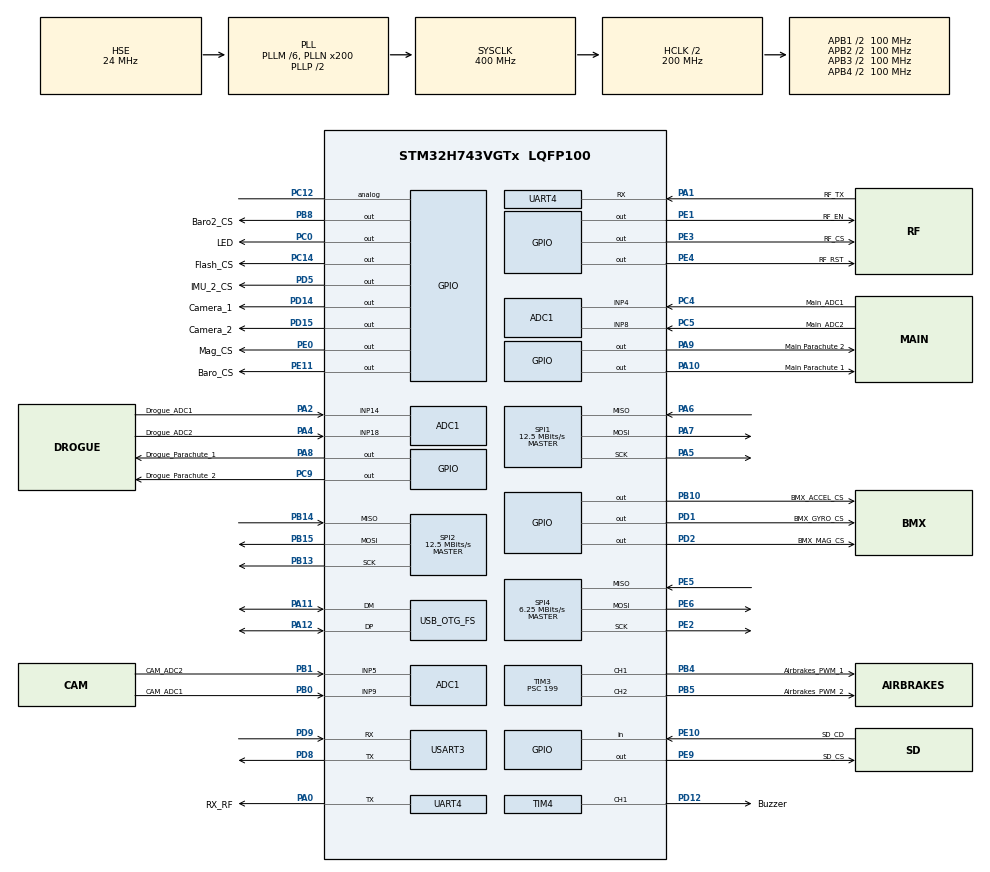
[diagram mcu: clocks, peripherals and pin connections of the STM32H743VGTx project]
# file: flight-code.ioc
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ADC1.Channel-0\#ChannelRegularConversion=ADC_CHANNEL_14
ADC1.NbrOfConversionFlag=1
ADC1.OffsetNumber-0\#ChannelRegularConversion=ADC_OFFSET_NONE
ADC1.OffsetSignedSaturation-0\#ChannelRegularConversion=DISABLE
ADC1.Overrun=ADC_OVR_DATA_OVERWRITTEN
ADC1.Rank-0\#ChannelRegularConversion=1
ADC1.SamplingTime-0\#ChannelRegularConversion=ADC_SAMPLETIME_1CYCLE_5
ADC1.master=1
CORTEX_M7.default_mode_Activation=1
FATFS._MAX_SS=4096
FATFS._USE_LFN=1
Mcu.Family=STM32H7
Mcu.Name=STM32H743VGTx
Mcu.Package=LQFP100
NVIC.PriorityGroup=NVIC_PRIORITYGROUP_4
PA0.GPIO_Label=RX_RF
PA0.Mode=Asynchronous
PA0.Signal=UART4_TX
PA1.GPIO_Label=RF_TX
PA1.Mode=Asynchronous
PA1.Signal=UART4_RX
PA10.GPIO_Label=Main Parachute 1
PA10.Signal=GPIO_Output
PA11.Mode=Device_Only
PA11.Signal=USB_OTG_FS_DM
PA12.Mode=Device_Only
PA12.Signal=USB_OTG_FS_DP
PA13\ (JTMS/SWDIO).Mode=Trace_Asynchronous_SW
PA13\ (JTMS/SWDIO).Signal=DEBUG_JTMS-SWDIO
PA14\ (JTCK/SWCLK).Mode=Trace_Asynchronous_SW
PA14\ (JTCK/SWCLK).Signal=DEBUG_JTCK-SWCLK
PA2.GPIO_Label=Drogue_ADC1
PA2.Signal=ADCx_INP14
PA4.GPIO_Label=Drogue_ADC2
PA4.Signal=ADCx_INP18
PA5.Mode=Full_Duplex_Master
PA5.Signal=SPI1_SCK
PA6.Mode=Full_Duplex_Master
PA6.Signal=SPI1_MISO
PA7.Mode=Full_Duplex_Master
PA7.Signal=SPI1_MOSI
PA8.GPIO_Label=Drogue_Parachute_1
PA8.Signal=GPIO_Output
PA9.GPIO_Label=Main Parachute 2
PA9.Signal=GPIO_Output
PB0.GPIO_Label=CAM_ADC1
PB0.Signal=ADCx_INP9
PB1.GPIO_Label=CAM_ADC2
PB1.Signal=ADCx_INP5
PB10.GPIO_Label=BMX_ACCEL_CS
PB10.Signal=GPIO_Output
PB13.Mode=Full_Duplex_Master
PB13.Signal=SPI2_SCK
PB14.Mode=Full_Duplex_Master
PB14.Signal=SPI2_MISO
PB15.Mode=Full_Duplex_Master
PB15.Signal=SPI2_MOSI
PB3\ (JTDO/TRACESWO).Mode=Trace_Asynchronous_SW
PB3\ (JTDO/TRACESWO).Signal=DEBUG_JTDO-SWO
PB4\ (NJTRST).GPIO_Label=Airbrakes_PWM_1
PB4\ (NJTRST).Signal=S_TIM3_CH1
PB5.GPIO_Label=Airbrakes_PWM_2
PB5.Signal=S_TIM3_CH2
PB8.GPIO_Label=Baro2_CS
PB8.Signal=GPIO_Output
PC0.GPIO_Label=LED
PC0.Signal=GPIO_Output
PC12.Signal=GPIO_Analog
PC14-OSC32_IN\ (OSC32_IN).GPIO_Label=Flash_CS
PC14-OSC32_IN\ (OSC32_IN).Signal=GPIO_Output
PC4.GPIO_Label=Main_ADC1
PC4.Signal=ADCx_INP4
PC5.GPIO_Label=Main_ADC2
PC5.Signal=ADCx_INP8
PC9.GPIO_Label=Drogue_Parachute_2
PC9.Signal=GPIO_Output
PD1.GPIO_Label=BMX_GYRO_CS
PD1.Signal=GPIO_Output
PD12.GPIO_Label=Buzzer
PD12.Signal=S_TIM4_CH1
PD14.GPIO_Label=Camera_1
PD14.Signal=GPIO_Output
PD15.GPIO_Label=Camera_2
PD15.Signal=GPIO_Output
PD2.GPIO_Label=BMX_MAG_CS
PD2.Signal=GPIO_Output
PD5.GPIO_Label=IMU_2_CS
PD5.Signal=GPIO_Output
PD8.Mode=Asynchronous
PD8.Signal=USART3_TX
PD9.Mode=Asynchronous
PD9.Signal=USART3_RX
PE0.GPIO_Label=Mag_CS
PE0.Signal=GPIO_Output
PE1.GPIO_Label=RF_EN
PE1.Signal=GPIO_Output
PE10.GPIO_Label=SD_CD
PE10.Signal=GPIO_Input
PE11.GPIO_Label=Baro_CS
PE11.Signal=GPIO_Output
PE2.Mode=Full_Duplex_Master
PE2.Signal=SPI4_SCK
PE3.GPIO_Label=RF_CS
PE3.Signal=GPIO_Output
PE4.GPIO_Label=RF_RST
PE4.Signal=GPIO_Output
PE5.Mode=Full_Duplex_Master
PE5.Signal=SPI4_MISO
PE6.Mode=Full_Duplex_Master
PE6.Signal=SPI4_MOSI
PE9.GPIO_Label=SD_CS
PE9.Signal=GPIO_Output
PH0-OSC_IN\ (PH0).Mode=HSE-External-Oscillator
PH0-OSC_IN\ (PH0).Signal=RCC_OSC_IN
PH1-OSC_OUT\ (PH1).Mode=HSE-External-Oscillator
PH1-OSC_OUT\ (PH1).Signal=RCC_OSC_OUT
ProjectManager.HeapSize=0x200
ProjectManager.StackSize=0x400
ProjectManager.TargetToolchain=STM32CubeIDE
RCC.ADCFreq_Value=100000000
RCC.APB1Freq_Value=100000000
RCC.APB2Freq_Value=100000000
RCC.APB3Freq_Value=100000000
RCC.APB4Freq_Value=100000000
RCC.CortexFreq_Value=400000000
RCC.D1PPRE=RCC_APB3_DIV2
RCC.D2PPRE1=RCC_APB1_DIV2
RCC.D2PPRE2=RCC_APB2_DIV2
RCC.D3PPRE=RCC_APB4_DIV2
RCC.DIVM1=6
RCC.DIVM2=6
RCC.DIVM3=6
RCC.DIVN1=200
RCC.DIVN2=100
RCC.DIVN3=96
RCC.DIVP2=4
RCC.DIVP3=10
RCC.DIVQ1=4
RCC.DIVQ3=8
RCC.DIVR3=10
RCC.EnbaleCSS=true
RCC.HCLKFreq_Value=200000000
RCC.HPRE=RCC_HCLK_DIV2
RCC.HSE_VALUE=24000000
RCC.PLL1_VCI_Range-AdvancedSettings=RCC_PLL1VCIRANGE_0
RCC.PLL2FRACN=0
RCC.PLL3FRACN=0
RCC.PLLFRACN=0
RCC.PLLSourceVirtual=RCC_PLLSOURCE_HSE
RCC.SYSCLKFreq_VALUE=400000000
RCC.SYSCLKSource=RCC_SYSCLKSOURCE_PLLCLK
RCC.USBCLockSelection=RCC_USBCLKSOURCE_PLL3
RCC.USBFreq_Value=48000000
SH.ADCx_INP14.0=ADC1_INP14,IN14-Single-Ended
SH.ADCx_INP18.0=ADC1_INP18,IN18-Single-Ended
SH.ADCx_INP4.0=ADC1_INP4,IN4-Single-Ended
SH.ADCx_INP5.0=ADC1_INP5,IN5-Single-Ended
SH.ADCx_INP8.0=ADC1_INP8,IN8-Single-Ended
SH.ADCx_INP9.0=ADC1_INP9,IN9-Single-Ended
SH.S_TIM3_CH1.0=TIM3_CH1,PWM Generation1 CH1
SH.S_TIM3_CH2.0=TIM3_CH2,PWM Generation2 CH2
SH.S_TIM4_CH1.0=TIM4_CH1,PWM Generation1 CH1
SPI1.BaudRatePrescaler=SPI_BAUDRATEPRESCALER_16
SPI1.CLKPhase=SPI_PHASE_1EDGE
SPI1.CLKPolarity=SPI_POLARITY_LOW
SPI1.CalculateBaudRate=12.5 MBits/s
SPI1.DataSize=SPI_DATASIZE_8BIT
SPI1.Direction=SPI_DIRECTION_2LINES
SPI1.Mode=SPI_MODE_MASTER
SPI1.VirtualType=VM_MASTER
SPI2.BaudRatePrescaler=SPI_BAUDRATEPRESCALER_16
SPI2.CLKPhase=SPI_PHASE_1EDGE
SPI2.CLKPolarity=SPI_POLARITY_LOW
SPI2.CalculateBaudRate=12.5 MBits/s
SPI2.DataSize=SPI_DATASIZE_8BIT
SPI2.Direction=SPI_DIRECTION_2LINES
SPI2.Mode=SPI_MODE_MASTER
SPI2.VirtualType=VM_MASTER
SPI4.BaudRatePrescaler=SPI_BAUDRATEPRESCALER_16
SPI4.CalculateBaudRate=6.25 MBits/s
SPI4.DataSize=SPI_DATASIZE_8BIT
SPI4.Direction=SPI_DIRECTION_2LINES
SPI4.Mode=SPI_MODE_MASTER
SPI4.VirtualType=VM_MASTER
TIM3.AutoReloadPreload=TIM_AUTORELOAD_PRELOAD_ENABLE
TIM3.Channel-PWM\ Generation1\ CH1=TIM_CHANNEL_1
TIM3.Channel-PWM\ Generation2\ CH2=TIM_CHANNEL_2
TIM3.Period=20000 - 1
TIM3.Prescaler=199
TIM4.Channel-PWM\ Generation1\ CH1=TIM_CHANNEL_1
UART4.BaudRate=57600
USART3.VirtualMode-Asynchronous=VM_ASYNC
USB_OTG_FS.VirtualMode=Device_Only
VP_FATFS_VS_Generic.Mode=User_defined
VP_MEMORYMAP_VS_MEMORYMAP.Mode=CurAppReg
VP_TIM3_VS_ClockSourceINT.Mode=Internal
VP_TIM4_VS_ClockSourceINT.Mode=Internal
board=custom

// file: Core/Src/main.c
/* USER CODE BEGIN Header */
/**
  ******************************************************************************
  * @file           : main.c
  * @brief          : Main program body
  ******************************************************************************
  * @attention
  *
  * Copyright (c) 2026 STMicroelectronics.
  * All rights reserved.
  *
  * This software is licensed under terms that can be found in the LICENSE file
  * in the root directory of this software component.
  * If no LICENSE file comes with this software, it is provided AS-IS.
  *
  ******************************************************************************
  */
/* USER CODE END Header */
#include "main.h"
#include "fatfs.h"

/* USER CODE BEGIN Includes */

#include "sensors.h"
#include "telemetry.h"
#include "fsm.h"
#include "madgwick.h"
#include "complementary_filter.h"
#include "cameras.h"
#include "buzzer.h"
#include "airbrakes.h"
#include "rfm9x.h"
#include "commands.h"
#include "parachutes.h"
#include "launch_buffer.h"
#include <string.h>
#include <math.h>

/* USER CODE END Includes */

ADC_HandleTypeDef hadc1;

SPI_HandleTypeDef hspi1;
SPI_HandleTypeDef hspi2;
SPI_HandleTypeDef hspi4;

TIM_HandleTypeDef htim3;
TIM_HandleTypeDef htim4;

UART_HandleTypeDef huart4;
UART_HandleTypeDef huart3;

PCD_HandleTypeDef hpcd_USB_OTG_FS;

/* USER CODE BEGIN PV */

// Bias structure
Bias_t bias = {0};

// Telemetry structure
Telemetry_t telemetry = {0};
// Flight State
FlightState_t flight_state = LAUNCH_PAD;

//Launch buffer
launch_buffer_t launch_buffer;

// RF
uint32_t prev_rf_transmit_time = 0;
uint32_t prev_log_time = 0;
uint32_t prev_flush_time = 0;
uint8_t rxbuf[32];
uint8_t len;
//HAL_GetTick()
/* USER CODE END PV */

void SystemClock_Config(void);
static void MPU_Config(void);
static void MX_GPIO_Init(void);
static void MX_SPI1_Init(void);
static void MX_UART4_Init(void);
static void MX_USB_OTG_FS_PCD_Init(void);
static void MX_USART3_UART_Init(void);
static void MX_ADC1_Init(void);
static void MX_TIM3_Init(void);
static void MX_TIM4_Init(void);
static void MX_SPI2_Init(void);
static void MX_SPI4_Init(void);
/* USER CODE BEGIN PFP */
void Success_pattern(void);
void Error_pattern(void);

/* USER CODE END PFP */

/* USER CODE BEGIN 0 */

// Microsecond resolution time
void DWT_Init(void)
{
    CoreDebug->DEMCR |= CoreDebug_DEMCR_TRCENA_Msk; // Enable DWT
    DWT->CYCCNT = 0;
    DWT->CTRL |= DWT_CTRL_CYCCNTENA_Msk;            // Start counter
}

uint64_t micros(void)
{
	static uint32_t last = 0;
	static uint64_t high = 0;

	uint32_t now = DWT->CYCCNT;

	if (now < last) {
		high += (1ULL << 32);
	}

	last = now;

	uint64_t cycles = high | now;

	return cycles / (SystemCoreClock / 1000000);
}

// Success: 3 quick LED blinks + 2 distinct buzzer tones
void Success_Pattern(void)
{
    // 3 quick LED blinks
	for(int i = 0; i < 3; i++) {
	        HAL_GPIO_WritePin(LED_GPIO_Port, LED_Pin, GPIO_PIN_SET);
	        HAL_Delay(150);  // Slightly longer ON
	        HAL_GPIO_WritePin(LED_GPIO_Port, LED_Pin, GPIO_PIN_RESET);
	        HAL_Delay(150);
	    }

    HAL_Delay(1000); //  pause

    // 2 distinct quick beeps
    for(int i = 0; i < 2; i++) {
    	__HAL_TIM_SET_COMPARE(&htim4, TIM_CHANNEL_1, htim4.Init.Period / 2);
		HAL_Delay(150);
		__HAL_TIM_SET_COMPARE(&htim4, TIM_CHANNEL_1, 0);
        HAL_Delay(150);
    }

    // Turn buzzer ON and keep it on
    __HAL_TIM_SET_COMPARE(&htim4, TIM_CHANNEL_1, htim4.Init.Period / 2);
}

// Error: Rapid LED flashing + continuous buzzer beeps, system halts
void Error_Pattern(void)
{
    while(1) {
        // Rapid LED flashing (50ms on/off)
        HAL_GPIO_WritePin(LED_GPIO_Port, LED_Pin, GPIO_PIN_SET);
        HAL_Delay(50);
        HAL_GPIO_WritePin(LED_GPIO_Port, LED_Pin, GPIO_PIN_RESET);
        HAL_Delay(50);

        // Continuous beeping via PWM: 200ms tone, 200ms silence
        // Tone ON
        __HAL_TIM_SET_COMPARE(&htim4, TIM_CHANNEL_1, htim4.Init.Period / 2); // 50% duty
        HAL_Delay(200);

        // Tone OFF (duty = 0)
        __HAL_TIM_SET_COMPARE(&htim4, TIM_CHANNEL_1, 0);
        HAL_Delay(200);
    }
    // System halts here - never returns
}

uint8_t set_airbrakes_target_apogee = 0;
uint32_t gliding_ascent_start_time = 0;

uint32_t main_start_time = 0;

/* USER CODE END 0 */

int main(void)
{

  /* MPU Configuration--------------------------------------------------------*/
  MPU_Config();

  /* MCU Configuration--------------------------------------------------------*/

  /* Reset of all peripherals, Initializes the Flash interface and the Systick. */
  HAL_Init();

  /* Configure the system clock */
  SystemClock_Config();

  /* Initialize all configured peripherals */
  MX_GPIO_Init();
  MX_SPI1_Init();
  MX_UART4_Init();
  MX_USB_OTG_FS_PCD_Init();
  MX_USART3_UART_Init();
  MX_FATFS_Init();
  MX_ADC1_Init();
  MX_TIM3_Init();
  MX_TIM4_Init();
  MX_SPI2_Init();
  MX_SPI4_Init();
  /* USER CODE BEGIN 2 */

  	// Initialize counter for micros() function
  	DWT_Init();

  	// Initialize ADC
  	HAL_ADCEx_Calibration_Start(&hadc1, ADC_CALIB_OFFSET, ADC_SINGLE_ENDED);

  	deselect_all_spi();

  	// Init rf
  	RFM9X_Init(&hspi1, RF_CS_GPIO_Port, RF_CS_Pin, RF_RST_GPIO_Port, RF_RST_Pin, RF_EN_GPIO_Port, RF_EN_Pin);

	// Initialize all sensors
    HAL_Delay(100);
	init_sensors(&hspi2, &hspi4);
	HAL_Delay(100);

	// Verify all sensors work todo
	if (Verify_Sensors() == 0){
		Success_Pattern();
	} else {
		Error_Pattern();
	}
	HAL_Delay(500);

	// Turn buzzer ON for normal operation
	buzzer_set_frequency(4000);

	// Turn Cameras on
	turn_camera_on(0);
	turn_camera_on(1);

	// Init airbrakes servos
	init_airbrakes_servo();

	strcpy(telemetry.cmd_echo, "N/A");

	// Get Inital state string
	init_data_file(&hspi1);
//	launch_buffer_init(&launch_buffer);

	// Read sensors a bunch to ensure correct initial values
	for(int i = 0; i < 20; ++i){
		read_sensors(&telemetry);
		HAL_Delay(10);
	}

	// Initialize flight state machine (need to read sensors first)
	init_flight_state(&flight_state, &telemetry);

	// Init madgwick filter (need to read accel first)
	Madgwick_Init(&telemetry, 0.1f); // TODO: Test different b's

	// Set the initial temperature for airbrakes algorithm. Used for drag force.
	set_airbrakes_initial_temp(&telemetry); // TODO: Go over this again

	// ROCKET MUST BE STILL
	Bias_Init(&bias);

//	Gyro_CalibrateBias(&bias, &telemetry, 500);

  /* USER CODE END 2 */

  /* Infinite loop */
  /* USER CODE BEGIN WHILE */

	while (1)
	{
		// Get the start time
		main_start_time = HAL_GetTick();

////		 Read Sensors
		read_sensors(&telemetry);
		read_ematch_connections(&telemetry);
		read_camera_adcs(&telemetry);

		// Filter
		Madgwick_Update(&telemetry);
		Madgwick_GetEuler(&telemetry);
		complementary_filter(&telemetry, &flight_state);

		// Update flight state
		update_flight_state(&flight_state, &telemetry);

		//add to launch_buffer
//		launch_buffer_add(&launch_buffer, flight_state, &telemetry);

		// Control Airbrakes
		set_optimal_deployment(flight_state, &telemetry);

		// Handle Commands
		RFM9X_Poll();
		len = RFM9X_Receive(rxbuf, sizeof(rxbuf));
		if(len > 0)
		{
			handle_rf_command((char *)rxbuf, &flight_state, &telemetry);
		}

		// Send RF data
		uint32_t cur_time = HAL_GetTick();
		if (cur_time - prev_rf_transmit_time >= RF_TRANSMIT_PERIOD && !RFM9X_IsTxBusy()){
			prev_rf_transmit_time = cur_time;
			char msg[300];
			get_rf_msg(flight_state, &telemetry, msg, sizeof(msg));
			RFM9X_Send((uint8_t *)msg, strlen(msg));
		}

		// Log telemetry
		if (cur_time - prev_log_time >= telemetry_log_period(flight_state)){
			prev_log_time = cur_time;
			log_data(flight_state, &telemetry); // Possible change: decrease how often we save the data file
		}

		// Flush data file
		if (cur_time - prev_flush_time >= 500) {
			prev_flush_time = cur_time;
			save_data_file();
		}

		// Wait until amt of time
		while (HAL_GetTick() - main_start_time < 5);

//		perform_airbrakes_servo_sequence();
//		HAL_Delay(5000);

//		HAL_Delay(1);

//		set_airbrakes_deployment_level(&telemetry, 0);

    /* USER CODE END WHILE */

	}
}

void SystemClock_Config(void)
{
  RCC_OscInitTypeDef RCC_OscInitStruct = {0};
  RCC_ClkInitTypeDef RCC_ClkInitStruct = {0};

  /** Supply configuration update enable
  */
  HAL_PWREx_ConfigSupply(PWR_LDO_SUPPLY);

  /** Configure the main internal regulator output voltage
  */
  __HAL_PWR_VOLTAGESCALING_CONFIG(PWR_REGULATOR_VOLTAGE_SCALE1);

  while(!__HAL_PWR_GET_FLAG(PWR_FLAG_VOSRDY)) {}

  /** Initializes the RCC Oscillators according to the specified parameters
  * in the RCC_OscInitTypeDef structure.
  */
  RCC_OscInitStruct.OscillatorType = RCC_OSCILLATORTYPE_HSE;
  RCC_OscInitStruct.HSEState = RCC_HSE_ON;
  RCC_OscInitStruct.PLL.PLLState = RCC_PLL_ON;
  RCC_OscInitStruct.PLL.PLLSource = RCC_PLLSOURCE_HSE;
  RCC_OscInitStruct.PLL.PLLM = 6;
  RCC_OscInitStruct.PLL.PLLN = 200;
  RCC_OscInitStruct.PLL.PLLP = 2;
  RCC_OscInitStruct.PLL.PLLQ = 4;
  RCC_OscInitStruct.PLL.PLLR = 2;
  RCC_OscInitStruct.PLL.PLLRGE = RCC_PLL1VCIRANGE_2;
  RCC_OscInitStruct.PLL.PLLVCOSEL = RCC_PLL1VCOWIDE;
  RCC_OscInitStruct.PLL.PLLFRACN = 0;
  if (HAL_RCC_OscConfig(&RCC_OscInitStruct) != HAL_OK)
  {
    Error_Handler();
  }

  /** Initializes the CPU, AHB and APB buses clocks
  */
  RCC_ClkInitStruct.ClockType = RCC_CLOCKTYPE_HCLK|RCC_CLOCKTYPE_SYSCLK
                              |RCC_CLOCKTYPE_PCLK1|RCC_CLOCKTYPE_PCLK2
                              |RCC_CLOCKTYPE_D3PCLK1|RCC_CLOCKTYPE_D1PCLK1;
  RCC_ClkInitStruct.SYSCLKSource = RCC_SYSCLKSOURCE_PLLCLK;
  RCC_ClkInitStruct.SYSCLKDivider = RCC_SYSCLK_DIV1;
  RCC_ClkInitStruct.AHBCLKDivider = RCC_HCLK_DIV2;
  RCC_ClkInitStruct.APB3CLKDivider = RCC_APB3_DIV2;
  RCC_ClkInitStruct.APB1CLKDivider = RCC_APB1_DIV2;
  RCC_ClkInitStruct.APB2CLKDivider = RCC_APB2_DIV2;
  RCC_ClkInitStruct.APB4CLKDivider = RCC_APB4_DIV2;

  if (HAL_RCC_ClockConfig(&RCC_ClkInitStruct, FLASH_LATENCY_2) != HAL_OK)
  {
    Error_Handler();
  }

  /** Enables the Clock Security System
  */
  HAL_RCC_EnableCSS();
}

static void MX_ADC1_Init(void)
{

  ADC_MultiModeTypeDef multimode = {0};
  ADC_ChannelConfTypeDef sConfig = {0};

  /** Common config
  */
  hadc1.Instance = ADC1;
  hadc1.Init.ClockPrescaler = ADC_CLOCK_ASYNC_DIV1;
  hadc1.Init.Resolution = ADC_RESOLUTION_16B;
  hadc1.Init.ScanConvMode = ADC_SCAN_DISABLE;
  hadc1.Init.EOCSelection = ADC_EOC_SINGLE_CONV;
  hadc1.Init.LowPowerAutoWait = DISABLE;
  hadc1.Init.ContinuousConvMode = DISABLE;
  hadc1.Init.NbrOfConversion = 1;
  hadc1.Init.DiscontinuousConvMode = DISABLE;
  hadc1.Init.ExternalTrigConv = ADC_SOFTWARE_START;
  hadc1.Init.ExternalTrigConvEdge = ADC_EXTERNALTRIGCONVEDGE_NONE;
  hadc1.Init.ConversionDataManagement = ADC_CONVERSIONDATA_DR;
  hadc1.Init.Overrun = ADC_OVR_DATA_OVERWRITTEN;
  hadc1.Init.LeftBitShift = ADC_LEFTBITSHIFT_NONE;
  hadc1.Init.OversamplingMode = DISABLE;
  hadc1.Init.Oversampling.Ratio = 1;
  if (HAL_ADC_Init(&hadc1) != HAL_OK)
  {
    Error_Handler();
  }

  /** Configure the ADC multi-mode
  */
  multimode.Mode = ADC_MODE_INDEPENDENT;
  if (HAL_ADCEx_MultiModeConfigChannel(&hadc1, &multimode) != HAL_OK)
  {
    Error_Handler();
  }

  /** Configure Regular Channel
  */
  sConfig.Channel = ADC_CHANNEL_14;
  sConfig.Rank = ADC_REGULAR_RANK_1;
  sConfig.SamplingTime = ADC_SAMPLETIME_1CYCLE_5;
  sConfig.SingleDiff = ADC_SINGLE_ENDED;
  sConfig.OffsetNumber = ADC_OFFSET_NONE;
  sConfig.Offset = 0;
  sConfig.OffsetSignedSaturation = DISABLE;
  if (HAL_ADC_ConfigChannel(&hadc1, &sConfig) != HAL_OK)
  {
    Error_Handler();
  }

}

static void MX_SPI1_Init(void)
{

  /* SPI1 parameter configuration*/
  hspi1.Instance = SPI1;
  hspi1.Init.Mode = SPI_MODE_MASTER;
  hspi1.Init.Direction = SPI_DIRECTION_2LINES;
  hspi1.Init.DataSize = SPI_DATASIZE_8BIT;
  hspi1.Init.CLKPolarity = SPI_POLARITY_LOW;
  hspi1.Init.CLKPhase = SPI_PHASE_1EDGE;
  hspi1.Init.NSS = SPI_NSS_SOFT;
  hspi1.Init.BaudRatePrescaler = SPI_BAUDRATEPRESCALER_16;
  hspi1.Init.FirstBit = SPI_FIRSTBIT_MSB;
  hspi1.Init.TIMode = SPI_TIMODE_DISABLE;
  hspi1.Init.CRCCalculation = SPI_CRCCALCULATION_DISABLE;
  hspi1.Init.CRCPolynomial = 0x0;
  hspi1.Init.NSSPMode = SPI_NSS_PULSE_ENABLE;
  hspi1.Init.NSSPolarity = SPI_NSS_POLARITY_LOW;
  hspi1.Init.FifoThreshold = SPI_FIFO_THRESHOLD_01DATA;
  hspi1.Init.TxCRCInitializationPattern = SPI_CRC_INITIALIZATION_ALL_ZERO_PATTERN;
  hspi1.Init.RxCRCInitializationPattern = SPI_CRC_INITIALIZATION_ALL_ZERO_PATTERN;
  hspi1.Init.MasterSSIdleness = SPI_MASTER_SS_IDLENESS_00CYCLE;
  hspi1.Init.MasterInterDataIdleness = SPI_MASTER_INTERDATA_IDLENESS_00CYCLE;
  hspi1.Init.MasterReceiverAutoSusp = SPI_MASTER_RX_AUTOSUSP_DISABLE;
  hspi1.Init.MasterKeepIOState = SPI_MASTER_KEEP_IO_STATE_DISABLE;
  hspi1.Init.IOSwap = SPI_IO_SWAP_DISABLE;
  if (HAL_SPI_Init(&hspi1) != HAL_OK)
  {
    Error_Handler();
  }

}

static void MX_SPI2_Init(void)
{

  /* SPI2 parameter configuration*/
  hspi2.Instance = SPI2;
  hspi2.Init.Mode = SPI_MODE_MASTER;
  hspi2.Init.Direction = SPI_DIRECTION_2LINES;
  hspi2.Init.DataSize = SPI_DATASIZE_8BIT;
  hspi2.Init.CLKPolarity = SPI_POLARITY_LOW;
  hspi2.Init.CLKPhase = SPI_PHASE_1EDGE;
  hspi2.Init.NSS = SPI_NSS_SOFT;
  hspi2.Init.BaudRatePrescaler = SPI_BAUDRATEPRESCALER_16;
  hspi2.Init.FirstBit = SPI_FIRSTBIT_MSB;
  hspi2.Init.TIMode = SPI_TIMODE_DISABLE;
  hspi2.Init.CRCCalculation = SPI_CRCCALCULATION_DISABLE;
  hspi2.Init.CRCPolynomial = 0x0;
  hspi2.Init.NSSPMode = SPI_NSS_PULSE_ENABLE;
  hspi2.Init.NSSPolarity = SPI_NSS_POLARITY_LOW;
  hspi2.Init.FifoThreshold = SPI_FIFO_THRESHOLD_01DATA;
  hspi2.Init.TxCRCInitializationPattern = SPI_CRC_INITIALIZATION_ALL_ZERO_PATTERN;
  hspi2.Init.RxCRCInitializationPattern = SPI_CRC_INITIALIZATION_ALL_ZERO_PATTERN;
  hspi2.Init.MasterSSIdleness = SPI_MASTER_SS_IDLENESS_00CYCLE;
  hspi2.Init.MasterInterDataIdleness = SPI_MASTER_INTERDATA_IDLENESS_00CYCLE;
  hspi2.Init.MasterReceiverAutoSusp = SPI_MASTER_RX_AUTOSUSP_DISABLE;
  hspi2.Init.MasterKeepIOState = SPI_MASTER_KEEP_IO_STATE_DISABLE;
  hspi2.Init.IOSwap = SPI_IO_SWAP_DISABLE;
  if (HAL_SPI_Init(&hspi2) != HAL_OK)
  {
    Error_Handler();
  }

}

static void MX_SPI4_Init(void)
{

  /* SPI4 parameter configuration*/
  hspi4.Instance = SPI4;
  hspi4.Init.Mode = SPI_MODE_MASTER;
  hspi4.Init.Direction = SPI_DIRECTION_2LINES;
  hspi4.Init.DataSize = SPI_DATASIZE_8BIT;
  hspi4.Init.CLKPolarity = SPI_POLARITY_LOW;
  hspi4.Init.CLKPhase = SPI_PHASE_1EDGE;
  hspi4.Init.NSS = SPI_NSS_SOFT;
  hspi4.Init.BaudRatePrescaler = SPI_BAUDRATEPRESCALER_16;
  hspi4.Init.FirstBit = SPI_FIRSTBIT_MSB;
  hspi4.Init.TIMode = SPI_TIMODE_DISABLE;
  hspi4.Init.CRCCalculation = SPI_CRCCALCULATION_DISABLE;
  hspi4.Init.CRCPolynomial = 0x0;
  hspi4.Init.NSSPMode = SPI_NSS_PULSE_ENABLE;
  hspi4.Init.NSSPolarity = SPI_NSS_POLARITY_LOW;
  hspi4.Init.FifoThreshold = SPI_FIFO_THRESHOLD_01DATA;
  hspi4.Init.TxCRCInitializationPattern = SPI_CRC_INITIALIZATION_ALL_ZERO_PATTERN;
  hspi4.Init.RxCRCInitializationPattern = SPI_CRC_INITIALIZATION_ALL_ZERO_PATTERN;
  hspi4.Init.MasterSSIdleness = SPI_MASTER_SS_IDLENESS_00CYCLE;
  hspi4.Init.MasterInterDataIdleness = SPI_MASTER_INTERDATA_IDLENESS_00CYCLE;
  hspi4.Init.MasterReceiverAutoSusp = SPI_MASTER_RX_AUTOSUSP_DISABLE;
  hspi4.Init.MasterKeepIOState = SPI_MASTER_KEEP_IO_STATE_DISABLE;
  hspi4.Init.IOSwap = SPI_IO_SWAP_DISABLE;
  if (HAL_SPI_Init(&hspi4) != HAL_OK)
  {
    Error_Handler();
  }

}

static void MX_TIM3_Init(void)
{

  TIM_ClockConfigTypeDef sClockSourceConfig = {0};
  TIM_MasterConfigTypeDef sMasterConfig = {0};
  TIM_OC_InitTypeDef sConfigOC = {0};

  htim3.Instance = TIM3;
  htim3.Init.Prescaler = 199;
  htim3.Init.CounterMode = TIM_COUNTERMODE_UP;
  htim3.Init.Period = 20000 - 1;
  htim3.Init.ClockDivision = TIM_CLOCKDIVISION_DIV1;
  htim3.Init.AutoReloadPreload = TIM_AUTORELOAD_PRELOAD_ENABLE;
  if (HAL_TIM_Base_Init(&htim3) != HAL_OK)
  {
    Error_Handler();
  }
  sClockSourceConfig.ClockSource = TIM_CLOCKSOURCE_INTERNAL;
  if (HAL_TIM_ConfigClockSource(&htim3, &sClockSourceConfig) != HAL_OK)
  {
    Error_Handler();
  }
  if (HAL_TIM_PWM_Init(&htim3) != HAL_OK)
  {
    Error_Handler();
  }
  sMasterConfig.MasterOutputTrigger = TIM_TRGO_RESET;
  sMasterConfig.MasterSlaveMode = TIM_MASTERSLAVEMODE_DISABLE;
  if (HAL_TIMEx_MasterConfigSynchronization(&htim3, &sMasterConfig) != HAL_OK)
  {
    Error_Handler();
  }
  sConfigOC.OCMode = TIM_OCMODE_PWM1;
  sConfigOC.Pulse = 0;
  sConfigOC.OCPolarity = TIM_OCPOLARITY_HIGH;
  sConfigOC.OCFastMode = TIM_OCFAST_DISABLE;
  if (HAL_TIM_PWM_ConfigChannel(&htim3, &sConfigOC, TIM_CHANNEL_1) != HAL_OK)
  {
    Error_Handler();
  }
  if (HAL_TIM_PWM_ConfigChannel(&htim3, &sConfigOC, TIM_CHANNEL_2) != HAL_OK)
  {
    Error_Handler();
  }
  HAL_TIM_MspPostInit(&htim3);

}

static void MX_TIM4_Init(void)
{

  TIM_ClockConfigTypeDef sClockSourceConfig = {0};
  TIM_MasterConfigTypeDef sMasterConfig = {0};
  TIM_OC_InitTypeDef sConfigOC = {0};

  htim4.Instance = TIM4;
  htim4.Init.Prescaler = 0;
  htim4.Init.CounterMode = TIM_COUNTERMODE_UP;
  htim4.Init.Period = 65535;
  htim4.Init.ClockDivision = TIM_CLOCKDIVISION_DIV1;
  htim4.Init.AutoReloadPreload = TIM_AUTORELOAD_PRELOAD_DISABLE;
  if (HAL_TIM_Base_Init(&htim4) != HAL_OK)
  {
    Error_Handler();
  }
  sClockSourceConfig.ClockSource = TIM_CLOCKSOURCE_INTERNAL;
  if (HAL_TIM_ConfigClockSource(&htim4, &sClockSourceConfig) != HAL_OK)
  {
    Error_Handler();
  }
  if (HAL_TIM_PWM_Init(&htim4) != HAL_OK)
  {
    Error_Handler();
  }
  sMasterConfig.MasterOutputTrigger = TIM_TRGO_RESET;
  sMasterConfig.MasterSlaveMode = TIM_MASTERSLAVEMODE_DISABLE;
  if (HAL_TIMEx_MasterConfigSynchronization(&htim4, &sMasterConfig) != HAL_OK)
  {
    Error_Handler();
  }
  sConfigOC.OCMode = TIM_OCMODE_PWM1;
  sConfigOC.Pulse = 0;
  sConfigOC.OCPolarity = TIM_OCPOLARITY_HIGH;
  sConfigOC.OCFastMode = TIM_OCFAST_DISABLE;
  if (HAL_TIM_PWM_ConfigChannel(&htim4, &sConfigOC, TIM_CHANNEL_1) != HAL_OK)
  {
    Error_Handler();
  }
  HAL_TIM_MspPostInit(&htim4);

}

static void MX_UART4_Init(void)
{

  huart4.Instance = UART4;
  huart4.Init.BaudRate = 57600;
  huart4.Init.WordLength = UART_WORDLENGTH_8B;
  huart4.Init.StopBits = UART_STOPBITS_1;
  huart4.Init.Parity = UART_PARITY_NONE;
  huart4.Init.Mode = UART_MODE_TX_RX;
  huart4.Init.HwFlowCtl = UART_HWCONTROL_NONE;
  huart4.Init.OverSampling = UART_OVERSAMPLING_16;
  huart4.Init.OneBitSampling = UART_ONE_BIT_SAMPLE_DISABLE;
  huart4.Init.ClockPrescaler = UART_PRESCALER_DIV1;
  huart4.AdvancedInit.AdvFeatureInit = UART_ADVFEATURE_NO_INIT;
  if (HAL_UART_Init(&huart4) != HAL_OK)
  {
    Error_Handler();
  }
  if (HAL_UARTEx_SetTxFifoThreshold(&huart4, UART_TXFIFO_THRESHOLD_1_8) != HAL_OK)
  {
    Error_Handler();
  }
  if (HAL_UARTEx_SetRxFifoThreshold(&huart4, UART_RXFIFO_THRESHOLD_1_8) != HAL_OK)
  {
    Error_Handler();
  }
  if (HAL_UARTEx_DisableFifoMode(&huart4) != HAL_OK)
  {
    Error_Handler();
  }

}

static void MX_USART3_UART_Init(void)
{

  huart3.Instance = USART3;
  huart3.Init.BaudRate = 115200;
  huart3.Init.WordLength = UART_WORDLENGTH_8B;
  huart3.Init.StopBits = UART_STOPBITS_1;
  huart3.Init.Parity = UART_PARITY_NONE;
  huart3.Init.Mode = UART_MODE_TX_RX;
  huart3.Init.HwFlowCtl = UART_HWCONTROL_NONE;
  huart3.Init.OverSampling = UART_OVERSAMPLING_16;
  huart3.Init.OneBitSampling = UART_ONE_BIT_SAMPLE_DISABLE;
  huart3.Init.ClockPrescaler = UART_PRESCALER_DIV1;
  huart3.AdvancedInit.AdvFeatureInit = UART_ADVFEATURE_NO_INIT;
  if (HAL_UART_Init(&huart3) != HAL_OK)
  {
    Error_Handler();
  }
  if (HAL_UARTEx_SetTxFifoThreshold(&huart3, UART_TXFIFO_THRESHOLD_1_8) != HAL_OK)
  {
    Error_Handler();
  }
  if (HAL_UARTEx_SetRxFifoThreshold(&huart3, UART_RXFIFO_THRESHOLD_1_8) != HAL_OK)
  {
    Error_Handler();
  }
  if (HAL_UARTEx_DisableFifoMode(&huart3) != HAL_OK)
  {
    Error_Handler();
  }

}

static void MX_USB_OTG_FS_PCD_Init(void)
{

  hpcd_USB_OTG_FS.Instance = USB_OTG_FS;
  hpcd_USB_OTG_FS.Init.dev_endpoints = 9;
  hpcd_USB_OTG_FS.Init.speed = PCD_SPEED_FULL;
  hpcd_USB_OTG_FS.Init.dma_enable = DISABLE;
  hpcd_USB_OTG_FS.Init.phy_itface = PCD_PHY_EMBEDDED;
  hpcd_USB_OTG_FS.Init.Sof_enable = DISABLE;
  hpcd_USB_OTG_FS.Init.low_power_enable = DISABLE;
  hpcd_USB_OTG_FS.Init.lpm_enable = DISABLE;
  hpcd_USB_OTG_FS.Init.battery_charging_enable = DISABLE;
  hpcd_USB_OTG_FS.Init.vbus_sensing_enable = DISABLE;
  hpcd_USB_OTG_FS.Init.use_dedicated_ep1 = DISABLE;
  if (HAL_PCD_Init(&hpcd_USB_OTG_FS) != HAL_OK)
  {
    Error_Handler();
  }

}

static void MX_GPIO_Init(void)
{
  GPIO_InitTypeDef GPIO_InitStruct = {0};

  /* GPIO Ports Clock Enable */
  __HAL_RCC_GPIOE_CLK_ENABLE();
  __HAL_RCC_GPIOC_CLK_ENABLE();
  __HAL_RCC_GPIOH_CLK_ENABLE();
  __HAL_RCC_GPIOA_CLK_ENABLE();
  __HAL_RCC_GPIOB_CLK_ENABLE();
  __HAL_RCC_GPIOD_CLK_ENABLE();

  /*Configure GPIO pin Output Level */
  HAL_GPIO_WritePin(GPIOE, RF_CS_Pin|RF_RST_Pin|SD_CS_Pin|Baro_CS_Pin
                          |Mag_CS_Pin|RF_EN_Pin, GPIO_PIN_RESET);

  /*Configure GPIO pin Output Level */
  HAL_GPIO_WritePin(GPIOC, Flash_CS_Pin|LED_Pin|Drogue_Parachute_2_Pin, GPIO_PIN_RESET);

  /*Configure GPIO pin Output Level */
  HAL_GPIO_WritePin(GPIOB, BMX_ACCEL_CS_Pin|Baro2_CS_Pin, GPIO_PIN_RESET);

  /*Configure GPIO pin Output Level */
  HAL_GPIO_WritePin(GPIOD, Camera_1_Pin|Camera_2_Pin|BMX_GYRO_CS_Pin|BMX_MAG_CS_Pin
                          |IMU_2_CS_Pin, GPIO_PIN_RESET);

  /*Configure GPIO pin Output Level */
  HAL_GPIO_WritePin(GPIOA, Drogue_Parachute_1_Pin|Main_Parachute_2_Pin|Main_Parachute_1_Pin, GPIO_PIN_RESET);

  /*Configure GPIO pins : RF_CS_Pin RF_RST_Pin SD_CS_Pin Baro_CS_Pin
                           Mag_CS_Pin RF_EN_Pin */
  GPIO_InitStruct.Pin = RF_CS_Pin|RF_RST_Pin|SD_CS_Pin|Baro_CS_Pin
                          |Mag_CS_Pin|RF_EN_Pin;
  GPIO_InitStruct.Mode = GPIO_MODE_OUTPUT_PP;
  GPIO_InitStruct.Pull = GPIO_NOPULL;
  GPIO_InitStruct.Speed = GPIO_SPEED_FREQ_LOW;
  HAL_GPIO_Init(GPIOE, &GPIO_InitStruct);

  /*Configure GPIO pins : Flash_CS_Pin LED_Pin Drogue_Parachute_2_Pin */
  GPIO_InitStruct.Pin = Flash_CS_Pin|LED_Pin|Drogue_Parachute_2_Pin;
  GPIO_InitStruct.Mode = GPIO_MODE_OUTPUT_PP;
  GPIO_InitStruct.Pull = GPIO_NOPULL;
  GPIO_InitStruct.Speed = GPIO_SPEED_FREQ_LOW;
  HAL_GPIO_Init(GPIOC, &GPIO_InitStruct);

  /*Configure GPIO pin : SD_CD_Pin */
  GPIO_InitStruct.Pin = SD_CD_Pin;
  GPIO_InitStruct.Mode = GPIO_MODE_INPUT;
  GPIO_InitStruct.Pull = GPIO_NOPULL;
  HAL_GPIO_Init(SD_CD_GPIO_Port, &GPIO_InitStruct);

  /*Configure GPIO pins : BMX_ACCEL_CS_Pin Baro2_CS_Pin */
  GPIO_InitStruct.Pin = BMX_ACCEL_CS_Pin|Baro2_CS_Pin;
  GPIO_InitStruct.Mode = GPIO_MODE_OUTPUT_PP;
  GPIO_InitStruct.Pull = GPIO_NOPULL;
  GPIO_InitStruct.Speed = GPIO_SPEED_FREQ_LOW;
  HAL_GPIO_Init(GPIOB, &GPIO_InitStruct);

  /*Configure GPIO pins : Camera_1_Pin Camera_2_Pin BMX_GYRO_CS_Pin BMX_MAG_CS_Pin
                           IMU_2_CS_Pin */
  GPIO_InitStruct.Pin = Camera_1_Pin|Camera_2_Pin|BMX_GYRO_CS_Pin|BMX_MAG_CS_Pin
                          |IMU_2_CS_Pin;
  GPIO_InitStruct.Mode = GPIO_MODE_OUTPUT_PP;
  GPIO_InitStruct.Pull = GPIO_NOPULL;
  GPIO_InitStruct.Speed = GPIO_SPEED_FREQ_LOW;
  HAL_GPIO_Init(GPIOD, &GPIO_InitStruct);

  /*Configure GPIO pins : Drogue_Parachute_1_Pin Main_Parachute_2_Pin Main_Parachute_1_Pin */
  GPIO_InitStruct.Pin = Drogue_Parachute_1_Pin|Main_Parachute_2_Pin|Main_Parachute_1_Pin;
  GPIO_InitStruct.Mode = GPIO_MODE_OUTPUT_PP;
  GPIO_InitStruct.Pull = GPIO_NOPULL;
  GPIO_InitStruct.Speed = GPIO_SPEED_FREQ_LOW;
  HAL_GPIO_Init(GPIOA, &GPIO_InitStruct);

  /*Configure GPIO pin : PC12 */
  GPIO_InitStruct.Pin = GPIO_PIN_12;
  GPIO_InitStruct.Mode = GPIO_MODE_ANALOG;
  GPIO_InitStruct.Pull = GPIO_NOPULL;
  HAL_GPIO_Init(GPIOC, &GPIO_InitStruct);

}

 /* MPU Configuration */

void MPU_Config(void)
{
  MPU_Region_InitTypeDef MPU_InitStruct = {0};

  /* Disables the MPU */
  HAL_MPU_Disable();

  /** Initializes and configures the Region and the memory to be protected
  */
  MPU_InitStruct.Enable = MPU_REGION_ENABLE;
  MPU_InitStruct.Number = MPU_REGION_NUMBER0;
  MPU_InitStruct.BaseAddress = 0x0;
  MPU_InitStruct.Size = MPU_REGION_SIZE_4GB;
  MPU_InitStruct.SubRegionDisable = 0x87;
  MPU_InitStruct.TypeExtField = MPU_TEX_LEVEL0;
  MPU_InitStruct.AccessPermission = MPU_REGION_NO_ACCESS;
  MPU_InitStruct.DisableExec = MPU_INSTRUCTION_ACCESS_DISABLE;
  MPU_InitStruct.IsShareable = MPU_ACCESS_SHAREABLE;
  MPU_InitStruct.IsCacheable = MPU_ACCESS_NOT_CACHEABLE;
  MPU_InitStruct.IsBufferable = MPU_ACCESS_NOT_BUFFERABLE;

  HAL_MPU_ConfigRegion(&MPU_InitStruct);
  /* Enables the MPU */
  HAL_MPU_Enable(MPU_PRIVILEGED_DEFAULT);

}

void Error_Handler(void)
{
  __disable_irq();
  while (1)
  {
  }
}
